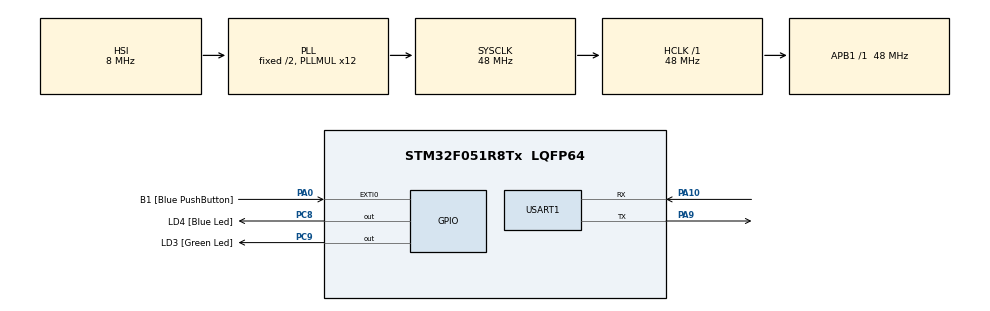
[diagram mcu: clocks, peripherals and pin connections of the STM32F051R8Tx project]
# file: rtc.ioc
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Mcu.Family=STM32F0
Mcu.Name=STM32F051R8Tx
Mcu.Package=LQFP64
PA0.GPIO_Label=B1 [Blue PushButton]
PA0.GPIO_ModeDefaultEXTI=GPIO_MODE_EVT_RISING
PA0.Signal=GPXTI0
PA10.Mode=Asynchronous
PA10.Signal=USART1_RX
PA13.GPIO_Label=SWDIO
PA13.Mode=Serial_Wire
PA13.Signal=SYS_SWDIO
PA14.GPIO_Label=SWCLK
PA14.Mode=Serial_Wire
PA14.Signal=SYS_SWCLK
PA9.Mode=Asynchronous
PA9.Signal=USART1_TX
PC8.GPIO_Label=LD4 [Blue Led]
PC8.Signal=GPIO_Output
PC9.GPIO_Label=LD3 [Green Led]
PC9.Signal=GPIO_Output
ProjectManager.HeapSize=0x200
ProjectManager.StackSize=0x400
ProjectManager.TargetToolchain=STM32CubeIDE
RCC.AHBFreq_Value=48000000
RCC.APB1Freq_Value=48000000
RCC.APB1TimFreq_Value=48000000
RCC.HCLKFreq_Value=48000000
RCC.PLLMUL=RCC_PLL_MUL12
RCC.SYSCLKFreq_VALUE=48000000
RCC.SYSCLKSource=RCC_SYSCLKSOURCE_PLLCLK
USART1.VirtualMode-Asynchronous=VM_ASYNC
VP_RTC_VS_RTC_Activate.Mode=RTC_Enabled
VP_RTC_VS_RTC_Calendar.Mode=RTC_Calendar
board=STM32F0DISCOVERY

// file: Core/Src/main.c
/* USER CODE BEGIN Header */
/**
  ******************************************************************************
  * @file           : main.c
  * @brief          : Main program body
  ******************************************************************************
  * @attention
  *
  * Copyright (c) 2024 STMicroelectronics.
  * All rights reserved.
  *
  * This software is licensed under terms that can be found in the LICENSE file
  * in the root directory of this software component.
  * If no LICENSE file comes with this software, it is provided AS-IS.
  *
  ******************************************************************************
  */
/* USER CODE END Header */
#include "main.h"

/* USER CODE BEGIN Includes */
#include <string.h>
#include <stdio.h>
#include <time.h>
/* USER CODE END Includes */

RTC_HandleTypeDef hrtc;

UART_HandleTypeDef huart1;

/* USER CODE BEGIN PV */
//structs to hold date and time
RTC_TimeTypeDef rtcTime;
RTC_DateTypeDef rtcDate;
//character arrays for translating to UART
char tchar[20];
char dchar[20];

//char test[20];

/* USER CODE END PV */

void SystemClock_Config(void);
static void MX_GPIO_Init(void);
static void MX_RTC_Init(void);
static void MX_USART1_UART_Init(void);

int main(void)
{
  /* USER CODE BEGIN 1 */

	/*This block is unfinished, attempt to grab (correct) local time
	char *timestr;
	struct date* l_time;

	time_t date;
	time(&date);
	l_time = localtime(&date);
	timestr = asctime(l_time);*/

  /* USER CODE END 1 */

  /* MCU Configuration--------------------------------------------------------*/

  /* Reset of all peripherals, Initializes the Flash interface and the Systick. */
  HAL_Init();

  /* Configure the system clock */
  SystemClock_Config();

  /* Initialize all configured peripherals */
  MX_GPIO_Init();
  MX_RTC_Init();
  MX_USART1_UART_Init();

  /* Infinite loop */
  while (1)
  {

    /* USER CODE BEGIN 3 */
	  //initially get the time and date
	  //put into premade structs with proper formatting
	  HAL_RTC_GetTime(&hrtc, &rtcTime, RTC_FORMAT_BIN);
	  HAL_RTC_GetDate(&hrtc, &rtcDate, RTC_FORMAT_BIN);

	  //Convert to get milliseconds
	  float subsec = ((float)(rtcTime.SecondFraction - rtcTime.SubSeconds))/((float)rtcTime.SecondFraction+1);
	  uint32_t ms = (uint32_t)(subsec * 1000);

	  /*Print local for testing
	  sprintf((char *)test, "Time: %s\r\n", timestr);
	  HAL_UART_Transmit(&huart1, (uint8_t*)test, strlen(test), HAL_MAX_DELAY);*/

	  //Display as Y, M, D and Hours, Minutes, Seconds, Milliseconds
	  sprintf((char *)dchar,"%02d:%02d:%02d\t",rtcDate.Year + 2000, rtcDate.Month, rtcDate.Date);
	  sprintf((char*)tchar, "%02d:%02d:%02d:%02d\r\n",rtcTime.Hours, rtcTime.Minutes, rtcTime.Seconds, (int)ms);

	  HAL_UART_Transmit(&huart1, (uint8_t*)tchar, strlen(tchar), HAL_MAX_DELAY);
	  HAL_UART_Transmit(&huart1, (uint8_t*)dchar, strlen(dchar), HAL_MAX_DELAY);

	  //delay to interrupt and create 1 second interval*/
	  HAL_Delay(500);

  }
  /* USER CODE END 3 */
}

void SystemClock_Config(void)
{
  RCC_OscInitTypeDef RCC_OscInitStruct = {0};
  RCC_ClkInitTypeDef RCC_ClkInitStruct = {0};
  RCC_PeriphCLKInitTypeDef PeriphClkInit = {0};

  /** Initializes the RCC Oscillators according to the specified parameters
  * in the RCC_OscInitTypeDef structure.
  */
  RCC_OscInitStruct.OscillatorType = RCC_OSCILLATORTYPE_HSI|RCC_OSCILLATORTYPE_LSI;
  RCC_OscInitStruct.HSIState = RCC_HSI_ON;
  RCC_OscInitStruct.HSICalibrationValue = RCC_HSICALIBRATION_DEFAULT;
  RCC_OscInitStruct.LSIState = RCC_LSI_ON;
  RCC_OscInitStruct.PLL.PLLState = RCC_PLL_ON;
  RCC_OscInitStruct.PLL.PLLSource = RCC_PLLSOURCE_HSI;
  RCC_OscInitStruct.PLL.PLLMUL = RCC_PLL_MUL12;
  RCC_OscInitStruct.PLL.PREDIV = RCC_PREDIV_DIV1;
  if (HAL_RCC_OscConfig(&RCC_OscInitStruct) != HAL_OK)
  {
    Error_Handler();
  }

  /** Initializes the CPU, AHB and APB buses clocks
  */
  RCC_ClkInitStruct.ClockType = RCC_CLOCKTYPE_HCLK|RCC_CLOCKTYPE_SYSCLK
                              |RCC_CLOCKTYPE_PCLK1;
  RCC_ClkInitStruct.SYSCLKSource = RCC_SYSCLKSOURCE_PLLCLK;
  RCC_ClkInitStruct.AHBCLKDivider = RCC_SYSCLK_DIV1;
  RCC_ClkInitStruct.APB1CLKDivider = RCC_HCLK_DIV1;

  if (HAL_RCC_ClockConfig(&RCC_ClkInitStruct, FLASH_LATENCY_1) != HAL_OK)
  {
    Error_Handler();
  }
  PeriphClkInit.PeriphClockSelection = RCC_PERIPHCLK_USART1|RCC_PERIPHCLK_RTC;
  PeriphClkInit.Usart1ClockSelection = RCC_USART1CLKSOURCE_PCLK1;
  PeriphClkInit.RTCClockSelection = RCC_RTCCLKSOURCE_LSI;
  if (HAL_RCCEx_PeriphCLKConfig(&PeriphClkInit) != HAL_OK)
  {
    Error_Handler();
  }
}

static void MX_RTC_Init(void)
{

  RTC_TimeTypeDef sTime = {0};
  RTC_DateTypeDef sDate = {0};

  /** Initialize RTC Only
  */
  hrtc.Instance = RTC;
  hrtc.Init.HourFormat = RTC_HOURFORMAT_24;
  hrtc.Init.AsynchPrediv = 127;
  hrtc.Init.SynchPrediv = 255;
  hrtc.Init.OutPut = RTC_OUTPUT_DISABLE;
  hrtc.Init.OutPutPolarity = RTC_OUTPUT_POLARITY_HIGH;
  hrtc.Init.OutPutType = RTC_OUTPUT_TYPE_OPENDRAIN;
  if (HAL_RTC_Init(&hrtc) != HAL_OK)
  {
    Error_Handler();
  }

  /* Initialize RTC and set the Time and Date */

  sTime.Hours = 0x0;
  sTime.Minutes = 0x0;
  sTime.Seconds = 0x0;
  sTime.SubSeconds = 0x0;
  sTime.DayLightSaving = RTC_DAYLIGHTSAVING_NONE;
  sTime.StoreOperation = RTC_STOREOPERATION_RESET;

  if (HAL_RTC_SetTime(&hrtc, &sTime, RTC_FORMAT_BCD) != HAL_OK)
  {
    Error_Handler();
  }

  sDate.WeekDay = RTC_WEEKDAY_WEDNESDAY;
  sDate.Month = RTC_MONTH_FEBRUARY;
  sDate.Date = 0x7;
  sDate.Year = 0x24;

  if (HAL_RTC_SetDate(&hrtc, &sDate, RTC_FORMAT_BCD) != HAL_OK)
  {
    Error_Handler();
  }

}

static void MX_USART1_UART_Init(void)
{

  huart1.Instance = USART1;
  huart1.Init.BaudRate = 9600;
  huart1.Init.WordLength = UART_WORDLENGTH_8B;
  huart1.Init.StopBits = UART_STOPBITS_1;
  huart1.Init.Parity = UART_PARITY_NONE;
  huart1.Init.Mode = UART_MODE_TX_RX;
  huart1.Init.HwFlowCtl = UART_HWCONTROL_NONE;
  huart1.Init.OverSampling = UART_OVERSAMPLING_16;
  huart1.Init.OneBitSampling = UART_ONE_BIT_SAMPLE_DISABLE;
  huart1.AdvancedInit.AdvFeatureInit = UART_ADVFEATURE_NO_INIT;
  if (HAL_UART_Init(&huart1) != HAL_OK)
  {
    Error_Handler();
  }

}

static void MX_GPIO_Init(void)
{
  GPIO_InitTypeDef GPIO_InitStruct = {0};

  /* GPIO Ports Clock Enable */
  __HAL_RCC_GPIOA_CLK_ENABLE();
  __HAL_RCC_GPIOC_CLK_ENABLE();

  /*Configure GPIO pin Output Level */
  HAL_GPIO_WritePin(GPIOC, LD4_Pin|LD3_Pin, GPIO_PIN_RESET);

  /*Configure GPIO pin : B1_Pin */
  GPIO_InitStruct.Pin = B1_Pin;
  GPIO_InitStruct.Mode = GPIO_MODE_EVT_RISING;
  GPIO_InitStruct.Pull = GPIO_NOPULL;
  HAL_GPIO_Init(B1_GPIO_Port, &GPIO_InitStruct);

  /*Configure GPIO pins : LD4_Pin LD3_Pin */
  GPIO_InitStruct.Pin = LD4_Pin|LD3_Pin;
  GPIO_InitStruct.Mode = GPIO_MODE_OUTPUT_PP;
  GPIO_InitStruct.Pull = GPIO_NOPULL;
  GPIO_InitStruct.Speed = GPIO_SPEED_FREQ_LOW;
  HAL_GPIO_Init(GPIOC, &GPIO_InitStruct);

}

void Error_Handler(void)
{
  __disable_irq();
  while (1)
  {
  }
}
